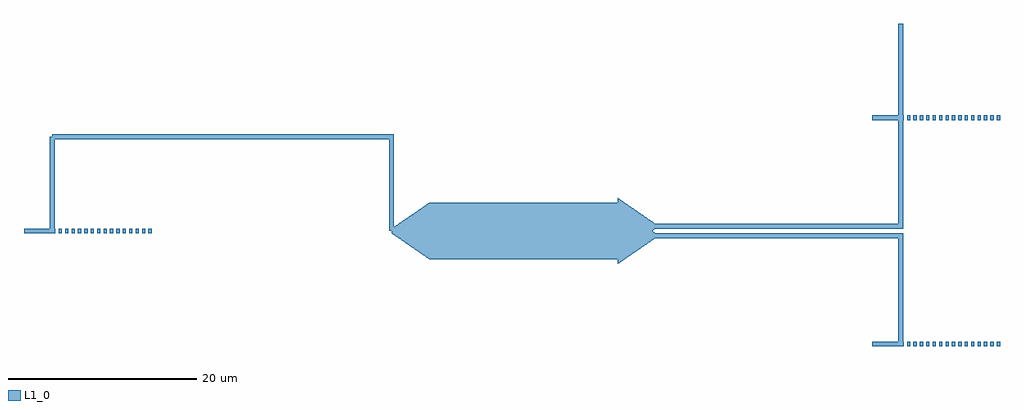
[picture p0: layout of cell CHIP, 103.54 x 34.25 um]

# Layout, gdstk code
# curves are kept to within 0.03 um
import gdstk
lib = gdstk.Library(unit=1e-6, precision=1e-09)
def R(c, l, rs):  # rectangles x0, y0, x1, y1
    for r in rs: c.add(gdstk.rectangle(r[:2], r[2:], *l))
def A(c, l, x, y, w, h, nx, ny, dx, dy):  # array of equal rectangles
    R(c, l, [(x+i*dx, y+j*dy, x+i*dx+w, y+j*dy+h) for i in range(nx) for j in range(ny)])
def P(c, l, *ps):  # polygons
    for p in ps: c.add(gdstk.Polygon(p, *l))
L1_0 = (1, 0)

chip = lib.new_cell('CHIP')
A(chip, L1_0, 90, -12.25, 0.34, 0.5, 16, 2, 0.68, 24)
A(chip, L1_0, 0, -0.25, 0.34, 0.5, 16, 1, 0.68, 0)
R(chip, L1_0, [(40,-3,60,3)])
P(chip, L1_0, [(36,0.25),(40,3),(40,-3),(36,-0.25)],
  [(60,3.5),(64,0.75),(64,0.25),(60,-2.5)],
  [(60,2.5),(64,-0.25),(64,-0.75),(60,-3.5)])
chip.add(gdstk.FlexPath([(0,0),(0,10)], 0.5, ends="flush", simple_path=True, layer=1, datatype=0))  # L1_0
chip.add(gdstk.FlexPath([(90,12),(90,22)], 0.5, ends="flush", simple_path=True, layer=1, datatype=0))  # L1_0
chip.add(gdstk.FlexPath([(90,-12),(90,-2)], 0.5, ends="flush", simple_path=True, layer=1, datatype=0))  # L1_0
chip.add(gdstk.FlexPath([(36,0),(40,0)], 0.5, ends="flush", simple_path=True, layer=1, datatype=0))  # L1_0
chip.add(gdstk.FlexPath([(64,0.5),(67,0.5)], 0.5, ends="flush", simple_path=True, layer=1, datatype=0))  # L1_0
chip.add(gdstk.FlexPath([(64,-0.5),(67,-0.5)], 0.5, ends="flush", simple_path=True, layer=1, datatype=0))  # L1_0
chip.add(gdstk.FlexPath([(0,10),(36,10),(36,0)], 0.5, ends="flush", simple_path=True, layer=1, datatype=0))  # L1_0
chip.add(gdstk.FlexPath([(67,0.5),(90,0.5),(90,22)], 0.5, ends="flush", simple_path=True, layer=1, datatype=0))  # L1_0
chip.add(gdstk.FlexPath([(67,-0.5),(90,-0.5),(90,-2)], 0.5, ends="flush", simple_path=True, layer=1, datatype=0))  # L1_0
chip.add(gdstk.FlexPath([(-3,0),(0,0)], 0.5, ends="flush", simple_path=True, layer=1, datatype=0))  # L1_0
chip.add(gdstk.FlexPath([(87,12),(90,12)], 0.5, ends="flush", simple_path=True, layer=1, datatype=0))  # L1_0
chip.add(gdstk.FlexPath([(87,-12),(90,-12)], 0.5, ends="flush", simple_path=True, layer=1, datatype=0))  # L1_0

lib.write_gds('CHIP.gds')
